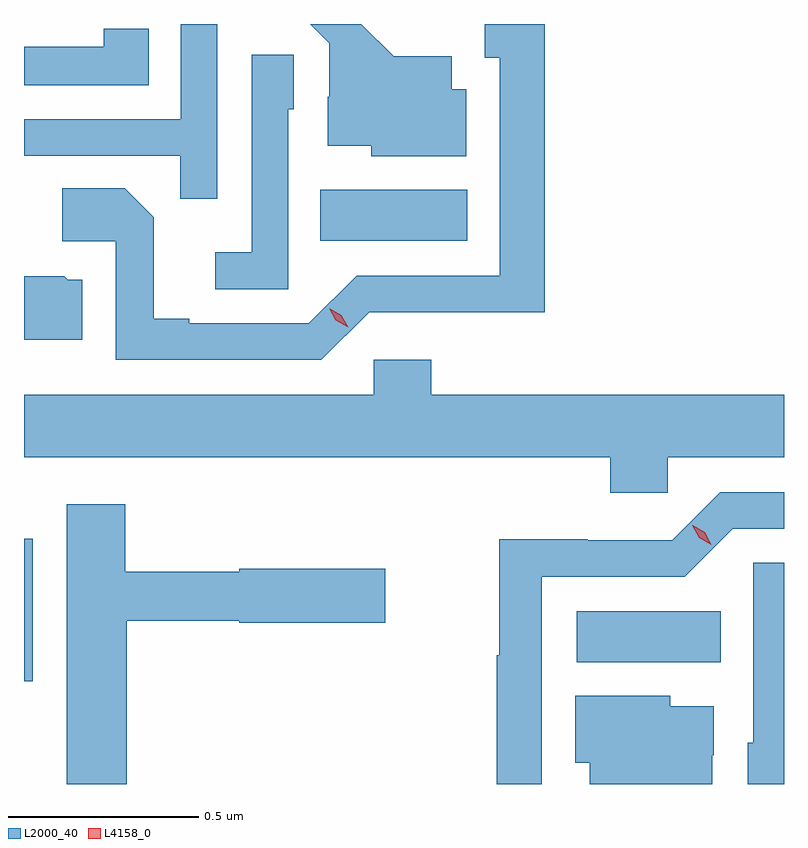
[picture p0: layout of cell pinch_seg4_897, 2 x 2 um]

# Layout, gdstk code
import gdstk
lib = gdstk.Library(unit=1e-6, precision=1e-09)
def R(c, l, rs):  # rectangles x0, y0, x1, y1
    for r in rs: c.add(gdstk.rectangle(r[:2], r[2:], *l))
def P(c, l, *ps):  # polygons
    for p in ps: c.add(gdstk.Polygon(p, *l))
L2000_40 = (2000, 40)
L4158_0 = (4158, 0)

pinch_seg4_897 = lib.new_cell('pinch_seg4_897')
R(pinch_seg4_897, L2000_40, [(759.742,821.538,759.765,821.913), (761.196,821.588,761.576,821.722), (760.522,822.698,760.909,822.832)])
P(pinch_seg4_897, L2000_40, [(760.251,823.268),(760.155,823.268),(760.155,823.017),(759.742,823.017),(759.742,822.921),(760.153,822.921),(760.153,822.808),(760.251,822.808)],
  [(760.906,823.096),(760.867,823.096),(760.867,823.183),(760.715,823.183),(760.629,823.268),(760.495,823.268),(760.545,823.218),(760.545,823.076),(760.541,823.076),(760.541,822.947),(760.656,822.947),(760.656,822.92),(760.906,822.92)],
  [(760.65,822.51),(760.872,822.51),(760.872,822.509),(761.113,822.509),(761.113,823.268),(760.955,823.268),(760.955,823.179),(760.994,823.179),(760.994,822.606),(760.617,822.606),(760.491,822.48),(760.177,822.48),(760.177,822.493),(760.083,822.493),(760.083,822.76),(760.007,822.836),(759.843,822.836),(759.843,822.696),(759.984,822.696),(759.984,822.384),(760.524,822.384)],
  [(760.07,823.255),(759.952,823.255),(759.952,823.208),(759.742,823.208),(759.742,823.107),(760.07,823.107)],
  [(760.437,823.044),(760.452,823.044),(760.452,823.187),(760.341,823.187),(760.341,822.667),(760.245,822.667),(760.245,822.57),(760.437,822.57)],
  [(759.895,822.595),(759.857,822.595),(759.848,822.604),(759.742,822.604),(759.742,822.437),(759.895,822.437)],
  [(761.436,822.128),(761.742,822.128),(761.742,822.292),(760.814,822.292),(760.814,822.385),(760.662,822.385),(760.662,822.292),(759.742,822.292),(759.742,822.128),(761.285,822.128),(761.285,822.035),(761.436,822.035)],
  [(761.104,821.814),(761.481,821.814),(761.607,821.94),(761.742,821.94),(761.742,822.036),(761.574,822.036),(761.448,821.91),(761.226,821.91),(761.226,821.912),(760.993,821.912),(760.993,821.607),(760.986,821.607),(760.986,821.268),(761.104,821.268)],
  [(760.013,821.698),(760.308,821.698),(760.308,821.693),(760.693,821.693),(760.693,821.835),(760.308,821.835),(760.308,821.827),(760.008,821.827),(760.008,822.004),(759.854,822.004),(759.854,821.268),(760.013,821.268)],
  [(761.742,821.85),(761.661,821.85),(761.661,821.376),(761.646,821.376),(761.646,821.268),(761.742,821.268)],
  [(761.553,821.344),(761.557,821.344),(761.557,821.473),(761.442,821.473),(761.442,821.5),(761.192,821.5),(761.192,821.324),(761.231,821.324),(761.231,821.268),(761.553,821.268)])
P(pinch_seg4_897, L4158_0, [(761.55,821.897),(761.519,821.916),(761.501,821.949),(761.501,821.949),(761.502,821.949),(761.533,821.93),(761.551,821.898),(761.551,821.897)],
  [(760.595,822.47),(760.563,822.488),(760.545,822.52),(760.545,822.52),(760.545,822.52),(760.577,822.502),(760.595,822.47),(760.595,822.47)])

lib.write_gds('pinch_seg4_897.gds')
